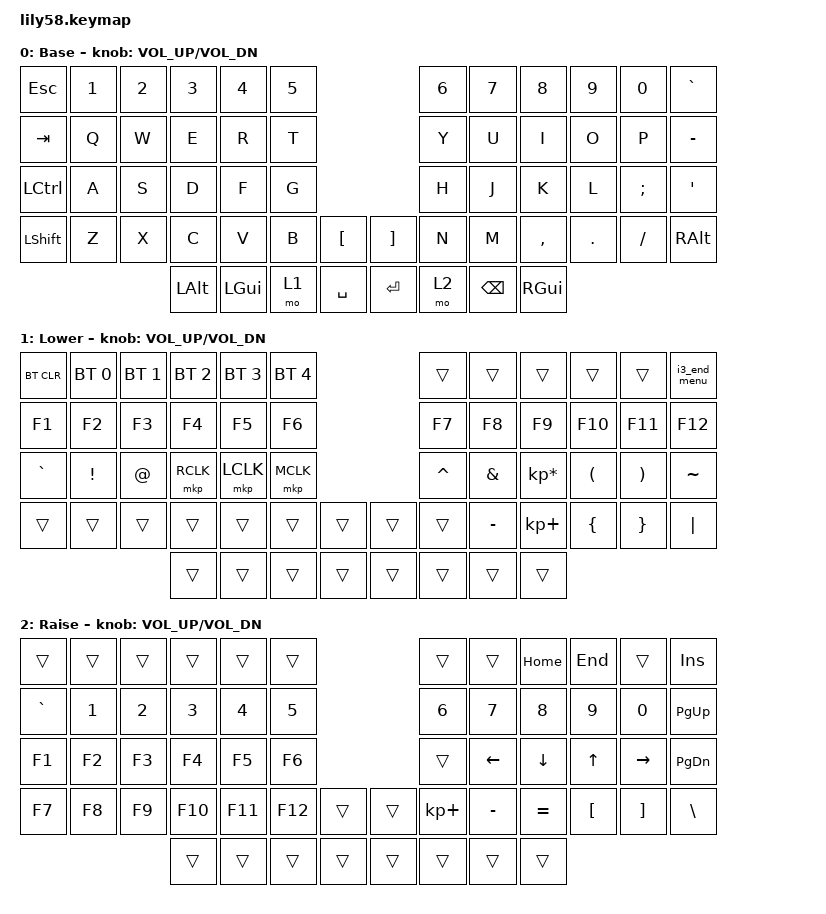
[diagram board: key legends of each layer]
/*
 * Copyright (c) 2020 The ZMK Contributors
 *
 * SPDX-License-Identifier: MIT
 */

#include <behaviors.dtsi>
#include <dt-bindings/zmk/keys.h>
#include <dt-bindings/zmk/bt.h>
#include <dt-bindings/zmk/ext_power.h>
#include <dt-bindings/zmk/pointing.h>

/ {
    macros {
        i3_end_menu: i3_end_menu {
            compatible = "zmk,behavior-macro";
            #binding-cells = <0>;
            bindings
                = <&macro_press &kp LALT>
                , <&macro_tap &kp END>
                , <&macro_release &kp LALT>
                ;
        };
    };
    keymap {
        compatible = "zmk,keymap";

        default_layer {
// ------------------------------------------------------------------------------------------------------------
// |  ESC  |  1  |  2  |  3   |  4   |  5   |                   |  6   |  7    |  8    |  9   |   0   |   `   |
// |  TAB  |  Q  |  W  |  E   |  R   |  T   |                   |  Y   |  U    |  I    |  O   |   P   |   -   |
// |  CTRL |  A  |  S  |  D   |  F   |  G   |                   |  H   |  J    |  K    |  L   |   ;   |   '   |
// | SHIFT |  Z  |  X  |  C   |  V   |  B   |   "["  |  |  "]"  |  N   |  M    |  ,    |  .   |   /   | RALT  |
//                     | ALT  | GUI  | LOWER|  SPACE |  | ENTER | RAISE| BSPC  | GUI   |
            display-name = "Base";
            bindings = <
&kp ESC   &kp N1 &kp N2 &kp N3   &kp N4   &kp N5                     &kp N6 &kp N7   &kp N8    &kp N9  &kp N0   &kp GRAVE
&kp TAB   &kp Q  &kp W  &kp E    &kp R    &kp T                      &kp Y  &kp U    &kp I     &kp O   &kp P    &kp MINUS
&kp LCTRL &kp A  &kp S  &kp D    &kp F    &kp G                      &kp H  &kp J    &kp K     &kp L   &kp SEMI &kp SQT
&kp LSHFT &kp Z  &kp X  &kp C    &kp V    &kp B  &kp LBKT   &kp RBKT &kp N  &kp M    &kp COMMA &kp DOT &kp FSLH &kp RALT
                        &kp LALT &kp LGUI &mo 1  &kp SPACE  &kp RET  &mo 2  &kp BSPC &kp RGUI
            >;

            sensor-bindings = <&inc_dec_kp C_VOL_UP C_VOL_DN>;
        };

        lower_layer {
// ------------------------------------------------------------------------------------------------------------
// | BTCLR | BT1 | BT2 |  BT3 |  BT4 |  BT5 |                   |      |       |       |      |       | i3_end |
// |  F1   |  F2 |  F3 |  F4  |  F5  |  F6  |                   |  F7  |  F8   |  F9   |  F10 |  F11  |  F12  |
// |   `   |  !  |  @  |  RCLK   |  LCLK   |  MCLK   |                   |  ^   |  &    |  *    |  (   |   )   |   ~   |
// |       |     |     |      |      |      |        |  |       |      |  _    |  +    |  {   |   }   |  "|"  |
//                     |      |      |      |        |  |       |      |       |       |
            display-name = "Lower";
            bindings = <
&bt BT_CLR &bt BT_SEL 0     &bt BT_SEL 1      &bt BT_SEL 2      &bt BT_SEL 3 &bt BT_SEL 4                 &trans    &trans    &trans          &trans    &trans    &i3_end_menu
&kp F1     &kp F2           &kp F3            &kp F4            &kp F5       &kp F6                       &kp F7    &kp F8    &kp F9          &kp F10   &kp F11   &kp F12
&kp GRAVE  &kp EXCL         &kp AT            &mkp RCLK         &mkp LCLK    &mkp MCLK                    &kp CARET &kp AMPS  &kp KP_MULTIPLY &kp LPAR  &kp RPAR  &kp TILDE
&trans     &trans           &trans            &trans            &trans       &trans    &trans   &trans    &trans    &kp MINUS &kp KP_PLUS     &kp LBRC  &kp RBRC  &kp PIPE
                                              &trans            &trans       &trans    &trans   &trans    &trans    &trans    &trans
            >;

            sensor-bindings = <&inc_dec_kp C_VOL_UP C_VOL_DN>;
        };

        raise_layer {
// ------------------------------------------------------------------------------------------------------------
// |       |     |     |      |      |      |                   |      |       | HOME  | END  |       | INSRT |
// |   `   |  1  |  2  |  3   |  4   |  5   |                   |  6   |   7   |   8   |  9   |   0   | PG_UP |
// |   F1  |  F2 |  F3 |  F4  |  F5  |  F6  |                   |      |   <-  |   v   |  ^   |  ->   |PG_DOWN|
// |   F7  |  F8 |  F9 |  F10 |  F11 |  F12 |        |  |       |  +   |   -   |   =   |  [   |   ]   |   \   |
//                     |      |      |      |        |  |       |      |       |       |
            display-name = "Raise";
            bindings = <
&trans    &trans &trans &trans  &trans  &trans                       &trans      &trans    &kp HOME  &kp END  &trans    &kp INSERT
&kp GRAVE &kp N1 &kp N2 &kp N3  &kp N4  &kp N5                       &kp N6      &kp N7    &kp N8    &kp N9   &kp N0    &kp PG_UP
&kp F1    &kp F2 &kp F3 &kp F4  &kp F5  &kp F6                       &trans      &kp LEFT  &kp DOWN  &kp UP   &kp RIGHT &kp PG_DN
&kp F7    &kp F8 &kp F9 &kp F10 &kp F11 &kp F12   &trans   &trans    &kp KP_PLUS &kp MINUS &kp EQUAL &kp LBKT &kp RBKT  &kp BSLH
                        &trans  &trans  &trans    &trans   &trans    &trans      &trans    &trans
            >;

            sensor-bindings = <&inc_dec_kp C_VOL_UP C_VOL_DN>;
        };

        extra_1 {
            status = "reserved";
        };

        extra_2 {
            status = "reserved";
        };

        extra_3 {
            status = "reserved";
        };
    };
};
